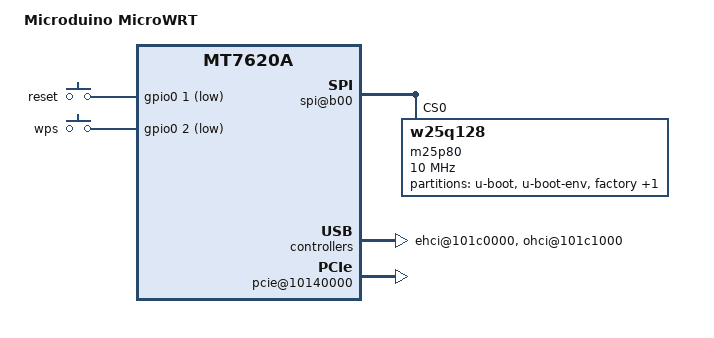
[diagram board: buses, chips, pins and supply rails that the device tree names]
/dts-v1/;

/include/ "mt7620a.dtsi"

/ {
	compatible = "microwrt", "ralink,mt7620a-soc";
	model = "Microduino MicroWRT";

	chosen {
		bootargs = "console=ttyS0,115200";
	};

	palmbus@10000000 {
		gpio2: gpio@660 {
			status = "okay";
		};

		gpio3: gpio@688 {
			status = "okay";
		};

		spi@b00 {
			status = "okay";

			m25p80@0 {
				#address-cells = <1>;
				#size-cells = <1>;
				compatible = "w25q128";
				reg = <0 0>;
				linux,modalias = "m25p80", "w25q128";
				spi-max-frequency = <10000000>;

				partition@0 {
					label = "u-boot";
					reg = <0x0 0x20000>;
					read-only;
				};

				partition@20000 {
					label = "u-boot-env";
					reg = <0x20000 0x10000>;
					read-only;
				};

				factory: partition@30000 {
					label = "factory";
					reg = <0x30000 0x10000>;
					read-only;
				};

				partition@40000 {
					label = "firmware";
					reg = <0x40000 0xfc0000>;
				};
			};
		};
	};

	ehci@101c0000 {
		status = "okay";
	};

	ohci@101c1000 {
		status = "okay";
	};

	pcie@10140000 {
		status = "okay";
	};

	ethernet@10100000 {
		pinctrl-names = "default";
		pinctrl-0 = <&ephy_pins>;
		mtd-mac-address = <&factory 0x4>;
		ralink,port-map = "llllw";
	};

	wmac@10180000 {
		ralink,mtd-eeprom = <&factory 0>;
	};

	pinctrl {
		state_default: pinctrl0 {
			default {
				ralink,group = "wled", "i2c", "wdt", "uartf";
				ralink,function = "gpio";
			};
		};
	};

	gpio-keys-polled {
		compatible = "gpio-keys-polled";
		#address-cells = <1>;
		#size-cells = <0>;
		poll-interval = <20>;
		reset {
			label = "reset";
			gpios = <&gpio0 1 1>;
			linux,code = <0x198>;
		};
		wps {
			label = "wps";
			gpios = <&gpio0 2 1>;
			linux,code = <0x211>;
		};
	};
   };
